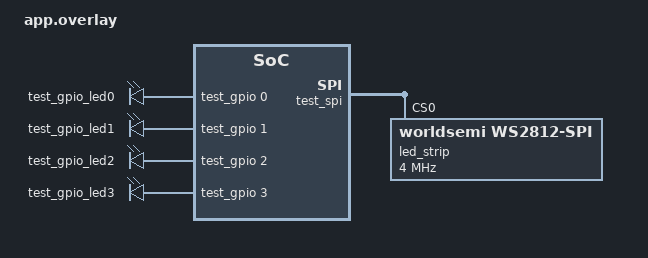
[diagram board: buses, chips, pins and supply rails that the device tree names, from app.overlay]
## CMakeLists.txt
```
cmake_minimum_required(VERSION 3.20.0)
set(ZEPHYR_EXTRA_MODULES ${CMAKE_CURRENT_LIST_DIR}/../../)
find_package(Zephyr REQUIRED HINTS $ENV{ZEPHYR_BASE})
project(app_led_test)

FILE(GLOB app_sources src/*.c)
target_sources(app PRIVATE ${app_sources})
```

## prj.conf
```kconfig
CONFIG_ZTEST=y
CONFIG_LED=y
CONFIG_GPIO_EMUL=y
# CONFIG_SPI=y
# CONFIG_SPI_EMUL=y
# CONFIG_LED_STRIP=y
CONFIG_APP_LED=y
CONFIG_APP_LED_USE_WORKQUEUE=n
```

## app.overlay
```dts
#include <zephyr/dt-bindings/led/led.h>

/ {
	aliases {
		gpio-leds = &test_gpio_led;
		rgb-gpio-leds = &test_gpio_rgb;
		gpio-emulator = &test_gpio;
		led-strip = &led_strip;
	};

	test {
		#address-cells = <1>;
		#size-cells = <1>;

		test_gpio: gpio@deadbeef {
			compatible = "vnd,gpio";
			gpio-controller;
			reg = <0xdeadbeef 0x1000>;
			#gpio-cells = <0x2>;
			status = "okay";
		};

		test_gpio_rgb: rgb-leds {
			compatible = "gpio-leds";
			test_gpio_led0: test_gpio_led_0 {
				gpios = <&test_gpio 0 0>;
			};
			test_gpio_led1: test_gpio_led_1 {
				gpios = <&test_gpio 1 0>;
			};
			test_gpio_led2: test_gpio_led_2 {
				gpios = <&test_gpio 2 0>;
			};
		};

		test_gpio_led: gpio-leds {
			compatible = "gpio-leds";
			test_gpio_led3: test_gpio_led_3 {
				gpios = <&test_gpio 3 0>;
			};
		};

		test_spi: spi@1 {
			compatible = "zephyr,spi-emul-controller";
			#address-cells = <1>;
			#size-cells = <0>;
			reg = <0x1 0x2>;

			led_strip: ws2812@0 {
				compatible = "worldsemi,ws2812-spi";

				/* SPI */
				reg = <0x0>;
				spi-max-frequency = <4000000>;
				frame-format = <32768>; /* SPI_FRAME_FORMAT_TI */

				/* WS2812 */
				chain-length = <6>; /* arbitrary; change at will */
				reset-delay = <50>; /* default 8 us but 50 us in datasheet and helps prevent flicker */
				spi-one-frame = <0x70>;
				spi-zero-frame = <0x40>;
				color-mapping = <LED_COLOR_ID_GREEN LED_COLOR_ID_RED LED_COLOR_ID_BLUE>;
			};
		};
	};
};
```

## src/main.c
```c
#include <zephyr/ztest.h>
#include <zephyr/device.h>
#include <zephyr/devicetree.h>
#include <zephyr/kernel.h>
#include <zephyr/sys/util.h>
#include <zephyr/drivers/gpio.h>
#include <zephyr/drivers/gpio/gpio_emul.h>
#include <zephyr/drivers/led_strip.h>
#include <zephyr/input/input.h>
#include <string.h>
#include <stdlib.h>
#include <zephyr/logging/log.h>

#include <app_led/led.h>

LOG_MODULE_DECLARE(app_led_test, LOG_LEVEL_DBG);

// --- Test Configuration & Nodes ---
#define GPIO_LED_NODE  DT_ALIAS(gpio_leds)
#define RGB_GPIO_NODE  DT_ALIAS(rgb_gpio_leds)
#define GPIO_EMUL_NODE DT_ALIAS(gpio_emulator)

// --- Define Test Instances using the app_led macro ---
// Kconfig handles max array size now. Pass explicit HW LED count.
APP_LED_STATIC_DEFINE(gpio_led_inst, GPIO_LED_NODE, 1, 0);     // 1 HW LED, not RGB
APP_LED_STATIC_DEFINE(rgb_gpio_led_inst, RGB_GPIO_NODE, 3, 1); // 3 HW LEDs, is RGB
// APP_LED_STATIC_STRIP_DEFINE(strip_inst, DT_ALIAS(led_strip));  // spi_emul strip

// --- Test Fixture ---
struct app_led_gpio_fixture {
	app_led_data_t *gpio;		    // Pointer to the single GPIO LED instance
	app_led_data_t *rgb_gpio;	    // Pointer to the RGB GPIO LED instance
	const struct device *gpio_emul_dev; // Emulator device instance
};

// --- Emulator Helper ---
// static int event_count;
// static uint16_t last_code;
// static bool last_val;
// static void test_gpio_keys_cb_handler(struct input_event *evt, void *user_data)
// {
// 	LOG_INF("GPIO_KEY %s pressed, zephyr_code=%u, value=%d\n",
// 		 evt->dev->name, evt->code, evt->value);
// 	event_count++;
// 	last_code = evt->code;
// 	last_val = evt->value;
// }
// INPUT_CALLBACK_DEFINE(DEVICE_DT_GET(GPIO_EMUL_NODE), test_gpio_keys_cb_handler, NULL);

// Gets the output state (0 or 1) of an emulated GPIO pin
static int get_gpio_pin_state(const struct device *emul_dev, uint32_t pin)
{
	return gpio_emul_output_get(emul_dev, pin);
}

// --- Test Setup ---
static void *app_led_gpio_setup(void)
{
	// Called once before all tests
	struct app_led_gpio_fixture *fixture = malloc(sizeof(struct app_led_gpio_fixture));

	fixture->gpio = &gpio_led_inst;
	fixture->rgb_gpio = &rgb_gpio_led_inst;
	fixture->gpio_emul_dev = DEVICE_DT_GET(GPIO_EMUL_NODE);

	// Initialize app_led instances (should check underlying GPIO device readiness)
	zassert_ok(app_led_init(fixture->gpio), "GPIO LED Init failed");
	zassert_ok(app_led_init(fixture->rgb_gpio), "RGB GPIO LED Init failed");

	return fixture;
}

static void app_led_gpio_before(void *f)
{
	// Called before each test function
	struct app_led_gpio_fixture *fixture = f;

	// Reset LED state to known defaults
	app_led_set_mode(fixture->gpio, Manual, K_NO_WAIT);
	app_led_set_global_color(fixture->gpio, RGBHEX(Black), K_NO_WAIT); // Off
	app_led_set_global_brightness(fixture->gpio, 0xFF, K_NO_WAIT);	   // Full brightness
	app_led_sequence_clear(fixture->gpio, K_NO_WAIT);
	// Reset blink state if needed (e.g., zero out timers in state array)
	fixture->gpio->state[0].on_time_ms_left = 0;
	fixture->gpio->state[0].off_time_ms_left = 0;

	app_led_set_mode(fixture->rgb_gpio, Manual, K_NO_WAIT);
	app_led_set_global_color(fixture->rgb_gpio, RGBHEX(Black), K_NO_WAIT); // Off
	app_led_set_global_brightness(fixture->rgb_gpio, 0xFF, K_NO_WAIT);     // Full brightness
	app_led_sequence_clear(fixture->rgb_gpio, K_NO_WAIT);
	// Reset blink state if needed...

#if IS_ENABLED(CONFIG_APP_LED_USE_WORKQUEUE)
	// Ensure work items are cancelled before each test
	(void)k_work_cancel_delayable(&fixture->gpio->dwork);
	(void)k_work_cancel_delayable(&fixture->rgb_gpio->dwork);
	// Allow cancellations to process
	k_sleep(K_MSEC(1));
#endif
}

static void app_led_teardown(void *f)
{
	free(f);
}

// Helper to run update logic (assuming work queue)
static void run_update(app_led_data_t *leds)
{
#if IS_ENABLED(CONFIG_APP_LED_USE_WORKQUEUE)
	// Directly call the handler to simulate the work queue running
	// This bypasses scheduler delays for immediate testing of state changes
	k_sleep(K_MSEC(20));
#else
	// If using thread, need different mechanism (e.g., yield + sleep)
	app_led_update(leds); // Call directly if no async mechanism
#endif
}

// --- Test Suite Definition ---
ZTEST_SUITE(app_led_gpio, NULL, app_led_gpio_setup, app_led_gpio_before, NULL, app_led_teardown);

ZTEST_F(app_led_gpio, test_gpio_led_brightness)
{
	app_led_set_global_brightness(fixture->gpio, 50, K_NO_WAIT);	   // Set to 50% brightness
	app_led_set_global_color(fixture->gpio, RGBHEX(White), K_NO_WAIT); // Set color to white
	run_update(fixture->gpio); // Run update logic
	zassert_equal(fixture->gpio->global_brightness, 50, "Brightness not set correctly");
	zassert_equal(get_gpio_pin_state(fixture->gpio_emul_dev, 0), 1, "GPIO pin not set to high");
}
```
